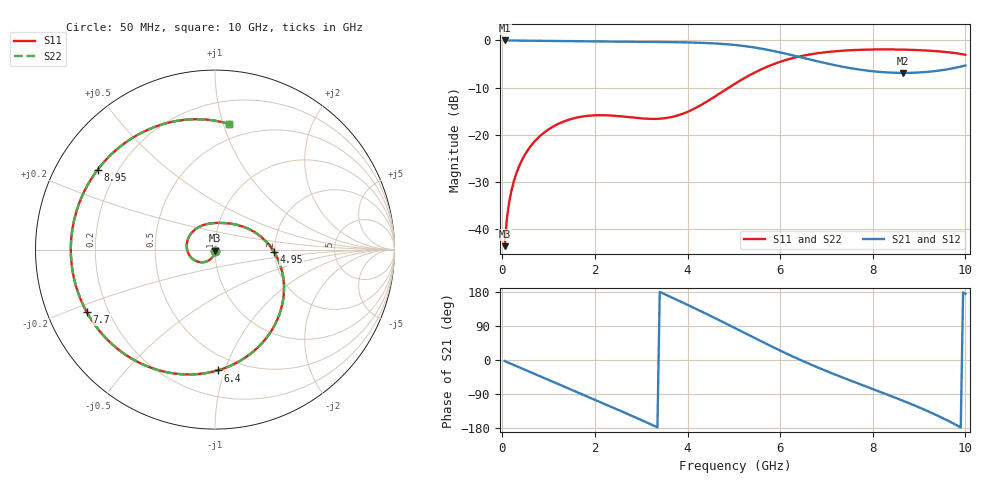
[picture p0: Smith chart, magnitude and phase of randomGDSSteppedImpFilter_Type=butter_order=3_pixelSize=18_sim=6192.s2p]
! freq	dB(S11)	phase(S11)	dB(S12)	phase(S12)
!  dB(S21)	phase(S21)	dB(S22)	phase(S22)
!S-par simulation data
#  GHz  S  DB  R 50
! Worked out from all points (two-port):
!   200 points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, 50 MHz to 10 GHz, reference 50 ohm
!   highest |S21| = -0.01 dB at 50 MHz (marker M1); lowest = -6.9 dB at 8.65 GHz (marker M2)
!   |S21| within 3 dB of the highest: start of sweep to 6.208 GHz
!   lowest |S11| = -43.5 dB at 50 MHz (marker M3), VSWR 1.01, Z = 50 - j0.665 ohm
!   |S11| at or under -10 dB: start of sweep to 4.889 GHz
!   |S22| runs from -43.5 to -1.9 dB; largest |S21 - S12| = 0
!   S11 on the Smith chart (normalised r, x): 50 MHz: 1.00, -0.01; 4.95 GHz: 1.98, -0.07; 6.4 GHz: 0.38, -0.95; 7.7 GHz: 0.12, -0.23; 8.95 GHz: 0.13, +0.30; 10 GHz: 0.38, +1.04
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0.05  -43.54 -90.2  -0.01 -2.7  -0.01 -2.7  -43.54 -90.2
0.1  -37.63 -94.0  -0.01 -5.3  -0.01 -5.3  -37.63 -94.0
0.2  -31.68 -100.2  -0.02 -10.6  -0.02 -10.6  -31.68 -100.2
0.5  -24.00 -116.8  -0.05 -26.4  -0.05 -26.4  -24.00 -116.8
1.15  -17.94 -151.2  -0.14 -60.4  -0.14 -60.4  -17.94 -151.1
1.75  -16.08 177.2  -0.22 -91.8  -0.22 -91.8  -16.08 177.3
2.5  -16.01 137.3  -0.27 -131.3  -0.27 -131.3  -16.01 137.6
2.95  -16.45 112.9  -0.29 -155.6  -0.29 -155.6  -16.45 113.3
3.4  -16.56 87.9  -0.33 179.6  -0.33 179.6  -16.56 88.4
3.85  -15.68 62.4  -0.39 154.2  -0.39 154.2  -15.69 62.9
4.3  -13.62 36.3  -0.51 128.1  -0.51 128.1  -13.63 36.7
4.95  -9.62 -2.6  -0.89 88.9  -0.89 88.9  -9.63 -2.3
5.05  -9.01 -8.7  -0.99 82.7  -0.99 82.7  -9.02 -8.4
5.75  -5.44 -51.3  -2.02 39.7  -2.02 39.7  -5.44 -51.2
6.4  -3.43 -88.8  -3.46 2.2  -3.46 2.2  -3.44 -88.7
6.7  -2.87 -104.9  -4.17 -13.9  -4.17 -13.9  -2.87 -104.8
7.7  -1.99 -154.1  -6.15 -62.8  -6.15 -62.8  -2.00 -154.0
8.35  -1.90 175.3  -6.79 -93.1  -6.79 -93.1  -1.90 175.4
8.65  -1.94 160.8  -6.87 -107.5  -6.87 -107.5  -1.94 160.9
8.95  -2.04 145.7  -6.81 -122.5  -6.81 -122.5  -2.04 145.8
9.55  -2.42 112.6  -6.21 -155.6  -6.21 -155.6  -2.42 112.7
10  -3.04 83.7  -5.31 175.0  -5.31 175.0  -3.04 83.8
